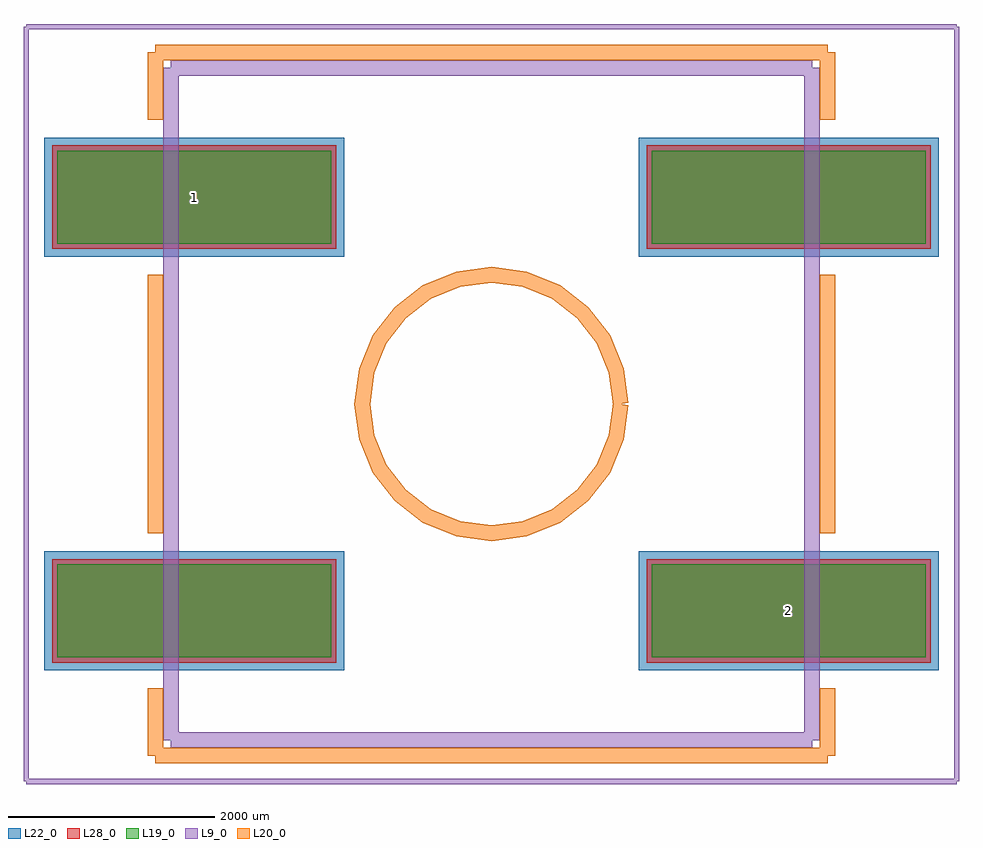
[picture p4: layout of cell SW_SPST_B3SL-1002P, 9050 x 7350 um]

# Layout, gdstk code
import gdstk
lib = gdstk.Library(unit=1e-6, precision=1e-09)
def R(c, l, rs):  # rectangles x0, y0, x1, y1
    for r in rs: c.add(gdstk.rectangle(r[:2], r[2:], *l))
L9_0 = (9, 0)
L19_0 = (19, 0)
L20_0 = (20, 0)
L22_0 = (22, 0)
L28_0 = (28, 0)

sw_spst_b3sl_1002p = lib.new_cell('SW_SPST_B3SL-1002P')
R(sw_spst_b3sl_1002p, L19_0, [(-4200,-2450,-1550,-1550), (1550,-2450,4200,-1550), (-4200,1550,-1550,2450), (1550,1550,4200,2450)])
R(sw_spst_b3sl_1002p, L22_0, [(-4325,-2575,-1425,-1425), (1425,-2575,4325,-1425), (-4325,1425,-1425,2575), (1425,1425,4325,2575)])
R(sw_spst_b3sl_1002p, L28_0, [(-4250,-2500,-1500,-1500), (1500,-2500,4250,-1500), (-4250,1500,-1500,2500), (1500,1500,4250,2500)])
sw_spst_b3sl_1002p.add(gdstk.FlexPath([(-3100,-3250),(-3100,3250)], 149.998, ends="flush", simple_path=True, layer=9, datatype=0))  # L9_0
sw_spst_b3sl_1002p.add(gdstk.FlexPath([(3100,-3250),(-3100,-3250)], 149.998, ends="flush", simple_path=True, layer=9, datatype=0))  # L9_0
sw_spst_b3sl_1002p.add(gdstk.FlexPath([(3100,3250),(3100,-3250)], 149.998, ends="flush", simple_path=True, layer=9, datatype=0))  # L9_0
sw_spst_b3sl_1002p.add(gdstk.FlexPath([(-3100,3250),(3100,3250)], 149.998, ends="flush", simple_path=True, layer=9, datatype=0))  # L9_0
sw_spst_b3sl_1002p.add(gdstk.FlexPath([(-3250,1250),(-3250,-1250)], 149.998, ends="flush", simple_path=True, layer=20, datatype=0))  # L20_0
sw_spst_b3sl_1002p.add(gdstk.FlexPath([(3250,1250),(3250,-1250)], 149.998, ends="flush", simple_path=True, layer=20, datatype=0))  # L20_0
sw_spst_b3sl_1002p.add(gdstk.FlexPath([(-3250,3400),(-3250,2750)], 149.998, ends="flush", simple_path=True, layer=20, datatype=0))  # L20_0
sw_spst_b3sl_1002p.add(gdstk.FlexPath([(3250,3400),(-3250,3400)], 149.998, ends="flush", simple_path=True, layer=20, datatype=0))  # L20_0
sw_spst_b3sl_1002p.add(gdstk.FlexPath([(3250,2750),(3250,3400)], 149.998, ends="flush", simple_path=True, layer=20, datatype=0))  # L20_0
sw_spst_b3sl_1002p.add(gdstk.FlexPath([(-3250,-3400),(-3250,-2750)], 149.998, ends="flush", simple_path=True, layer=20, datatype=0))  # L20_0
sw_spst_b3sl_1002p.add(gdstk.FlexPath([(3250,-3400),(-3250,-3400)], 149.998, ends="flush", simple_path=True, layer=20, datatype=0))  # L20_0
sw_spst_b3sl_1002p.add(gdstk.FlexPath([(3250,-2750),(3250,-3400)], 149.998, ends="flush", simple_path=True, layer=20, datatype=0))  # L20_0
sw_spst_b3sl_1002p.add(gdstk.FlexPath([(-4500,3650),(-4500,-3650)], 50, ends="flush", simple_path=True, layer=9, datatype=0))  # L9_0
sw_spst_b3sl_1002p.add(gdstk.FlexPath([(4500,3650),(-4500,3650)], 50, ends="flush", simple_path=True, layer=9, datatype=0))  # L9_0
sw_spst_b3sl_1002p.add(gdstk.FlexPath([(4500,-3650),(4500,3650)], 50, ends="flush", simple_path=True, layer=9, datatype=0))  # L9_0
sw_spst_b3sl_1002p.add(gdstk.FlexPath([(-4500,-3650),(4500,-3650)], 50, ends="flush", simple_path=True, layer=9, datatype=0))  # L9_0
sw_spst_b3sl_1002p.add(gdstk.FlexPath([(1250,0),(1207.407,323.524),(1082.532,625),(883.883,883.883),(625,1082.532),(323.524,1207.407),(0,1250),(-323.524,1207.407),(-625,1082.532),(-883.883,883.883),(-1082.532,625),(-1207.407,323.524),(-1250,0),(-1207.407,-323.524),(-1082.532,-625),(-883.883,-883.883),(-625,-1082.532),(-323.524,-1207.407),(0,-1250),(323.524,-1207.407),(625,-1082.532),(883.883,-883.883),(1082.532,-625),(1207.407,-323.524),(1250,0)], 149.998, ends="flush", simple_path=True, layer=20, datatype=0))  # L20_0
sw_spst_b3sl_1002p.add(gdstk.Label('2', (2875,-2000), layer=28, texttype=0))
sw_spst_b3sl_1002p.add(gdstk.Label('1', (-2875,2000), layer=28, texttype=0))
sw_spst_b3sl_1002p.add(gdstk.Label('type', (0,-4750), layer=9, texttype=0))
sw_spst_b3sl_1002p.add(gdstk.Label('devicename', (0,4500), layer=9, texttype=0))

lib.write_gds('SW_SPST_B3SL-1002P.gds')
